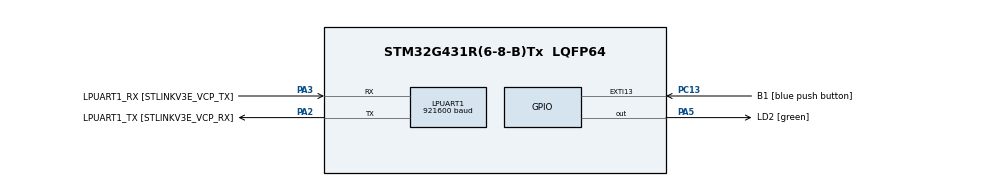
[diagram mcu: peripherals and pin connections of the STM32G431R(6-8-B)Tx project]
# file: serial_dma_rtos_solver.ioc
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Dma.LPUART1_RX.1.Direction=DMA_PERIPH_TO_MEMORY
Dma.LPUART1_RX.1.EventEnable=DISABLE
Dma.LPUART1_RX.1.Instance=DMA1_Channel1
Dma.LPUART1_RX.1.MemDataAlignment=DMA_MDATAALIGN_BYTE
Dma.LPUART1_RX.1.MemInc=DMA_MINC_ENABLE
Dma.LPUART1_RX.1.Mode=DMA_CIRCULAR
Dma.LPUART1_RX.1.PeriphDataAlignment=DMA_PDATAALIGN_BYTE
Dma.LPUART1_RX.1.PeriphInc=DMA_PINC_DISABLE
Dma.LPUART1_RX.1.Polarity=HAL_DMAMUX_REQ_GEN_RISING
Dma.LPUART1_RX.1.Priority=DMA_PRIORITY_LOW
Dma.LPUART1_RX.1.RequestNumber=1
Dma.LPUART1_RX.1.SignalID=NONE
Dma.LPUART1_RX.1.SyncEnable=DISABLE
Dma.LPUART1_RX.1.SyncPolarity=HAL_DMAMUX_SYNC_NO_EVENT
Dma.LPUART1_RX.1.SyncRequestNumber=1
Dma.LPUART1_RX.1.SyncSignalID=NONE
Dma.LPUART1_TX.0.Direction=DMA_MEMORY_TO_PERIPH
Dma.LPUART1_TX.0.EventEnable=DISABLE
Dma.LPUART1_TX.0.Instance=DMA1_Channel2
Dma.LPUART1_TX.0.MemDataAlignment=DMA_MDATAALIGN_BYTE
Dma.LPUART1_TX.0.MemInc=DMA_MINC_ENABLE
Dma.LPUART1_TX.0.Mode=DMA_NORMAL
Dma.LPUART1_TX.0.PeriphDataAlignment=DMA_PDATAALIGN_BYTE
Dma.LPUART1_TX.0.PeriphInc=DMA_PINC_DISABLE
Dma.LPUART1_TX.0.Polarity=HAL_DMAMUX_REQ_GEN_RISING
Dma.LPUART1_TX.0.Priority=DMA_PRIORITY_LOW
Dma.LPUART1_TX.0.RequestNumber=1
Dma.LPUART1_TX.0.SignalID=NONE
Dma.LPUART1_TX.0.SyncEnable=DISABLE
Dma.LPUART1_TX.0.SyncPolarity=HAL_DMAMUX_SYNC_NO_EVENT
Dma.LPUART1_TX.0.SyncRequestNumber=1
Dma.LPUART1_TX.0.SyncSignalID=NONE
Dma.Request0=LPUART1_TX
Dma.Request1=LPUART1_RX
FREERTOS.INCLUDE_vTaskDelete=0
FREERTOS.INCLUDE_vTaskSuspend=0
FREERTOS.Tasks01=defaultTask,24,128,StartDefaultTask,Default,NULL,Dynamic,NULL,NULL;motorSimulation,48,256,motorSimulationTask,Default,NULL,Dynamic,NULL,NULL
FREERTOS.configENABLE_BACKWARD_COMPATIBILITY=0
FREERTOS.configENABLE_FPU=1
FREERTOS.configGENERATE_RUN_TIME_STATS=1
LPUART1.BaudRate=921600
LPUART1.WordLength=UART_WORDLENGTH_8B
Mcu.Family=STM32G4
Mcu.Name=STM32G431R(6-8-B)Tx
Mcu.Package=LQFP64
NVIC.DMA1_Channel1_IRQn=true\:5\:0\:false\:false\:true\:true\:false\:true
NVIC.DMA1_Channel2_IRQn=true\:5\:0\:false\:false\:true\:true\:false\:true
NVIC.LPUART1_IRQn=true\:5\:0\:false\:false\:true\:true\:true\:true
NVIC.PriorityGroup=NVIC_PRIORITYGROUP_4
NVIC.TIM2_IRQn=true\:0\:0\:false\:false\:true\:false\:false\:true
NVIC.TimeBase=TIM2_IRQn
NVIC.TimeBaseIP=TIM2
PA13.GPIO_Label=T_SWDIO
PA13.Mode=Serial_Wire
PA13.Signal=SYS_JTMS-SWDIO
PA14.GPIO_Label=T_SWCLK
PA14.Mode=Serial_Wire
PA14.Signal=SYS_JTCK-SWCLK
PA2.GPIO_Label=LPUART1_TX [STLINKV3E_VCP_RX]
PA2.Mode=Asynchronous
PA2.Signal=LPUART1_TX
PA3.GPIO_Label=LPUART1_RX [STLINKV3E_VCP_TX]
PA3.Mode=Asynchronous
PA3.Signal=LPUART1_RX
PA5.GPIO_Label=LD2 [green]
PA5.Signal=GPIO_Output
PB3.GPIO_Label=T_SWO
PB3.Signal=SYS_JTDO-SWO
PC13.GPIO_Label=B1 [blue push button]
PC13.Signal=GPXTI13
PC14-OSC32_IN.Mode=LSE-External-Oscillator
PC14-OSC32_IN.Signal=RCC_OSC32_IN
PC15-OSC32_OUT.Mode=LSE-External-Oscillator
PC15-OSC32_OUT.Signal=RCC_OSC32_OUT
PF0-OSC_IN.Mode=HSE-External-Oscillator
PF0-OSC_IN.Signal=RCC_OSC_IN
PF1-OSC_OUT.Mode=HSE-External-Oscillator
PF1-OSC_OUT.Signal=RCC_OSC_OUT
ProjectManager.HeapSize=0x2000
ProjectManager.StackSize=0x2000
ProjectManager.TargetToolchain=STM32CubeIDE
RCC.ADC12Freq_Value=170000000
RCC.AHBFreq_Value=170000000
RCC.APB1Freq_Value=170000000
RCC.APB1TimFreq_Value=170000000
RCC.APB2Freq_Value=170000000
RCC.APB2TimFreq_Value=170000000
RCC.CortexFreq_Value=170000000
RCC.EXTERNAL_CLOCK_VALUE=12288000
RCC.HCLKFreq_Value=170000000
RCC.HSE_VALUE=24000000
RCC.HSI48_VALUE=48000000
RCC.HSI_VALUE=16000000
RCC.PLLM=RCC_PLLM_DIV6
RCC.PLLN=85
RCC.PLLSourceVirtual=RCC_PLLSOURCE_HSE
RCC.RTCClockSelection=RCC_RTCCLKSOURCE_LSE
RCC.SYSCLKFreq_VALUE=170000000
RCC.SYSCLKSource=RCC_SYSCLKSOURCE_PLLCLK
RCC.USBFreq_Value=170000000
RCC.VCOOutputFreq_Value=340000000
VP_FREERTOS_VS_CMSIS_V2.Mode=CMSIS_V2
VP_SYS_VS_DBSignals.Mode=DisableDeadBatterySignals
VP_SYS_VS_tim2.Mode=TIM2
board=NUCLEO-G431RB

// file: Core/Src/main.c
/* USER CODE BEGIN Header */
/**
  ******************************************************************************
  * @file           : main.c
  * @brief          : Main program body
  ******************************************************************************
  * @attention
  *
  * <h2><center>&copy; Copyright (c) 2020 STMicroelectronics.
  * All rights reserved.</center></h2>
  *
  * This software component is licensed by ST under BSD 3-Clause license,
  * the "License"; You may not use this file except in compliance with the
  * License. You may obtain a copy of the License at:
  *                        opensource.org/licenses/BSD-3-Clause
  *
  ******************************************************************************
  */
/* USER CODE END Header */

#include "main.h"
#include "cmsis_os.h"

/* USER CODE BEGIN Includes */
#include "serial_handler.h"
#include "model.h"
#include "data_channel_c.h"
/* USER CODE END Includes */

/* Definitions for defaultTask */
osThreadId_t defaultTaskHandle;
const osThreadAttr_t defaultTask_attributes = {
  .name = "defaultTask",
  .priority = (osPriority_t) osPriorityNormal,
  .stack_size = 128 * 4
};
/* Definitions for motorSimulation */
osThreadId_t motorSimulationHandle;
const osThreadAttr_t motorSimulation_attributes = {
  .name = "motorSimulation",
  .priority = (osPriority_t) osPriorityRealtime,
  .stack_size = 256 * 4
};

void SystemClock_Config(void);
static void MX_GPIO_Init(void);
static void MX_DMA_Init(void);
static void MX_LPUART1_UART_Init(void);
void StartDefaultTask(void *argument);
void motorSimulationTask(void *argument);

int main(void)
{

  /* MCU Configuration--------------------------------------------------------*/

  /* Reset of all peripherals, Initializes the Flash interface and the Systick. */
  HAL_Init();

  /* Configure the system clock */
  SystemClock_Config();

  /* Initialize all configured peripherals */
  MX_GPIO_Init();
  MX_DMA_Init();
  MX_LPUART1_UART_Init();

  /* Init scheduler */
  osKernelInitialize();

  /* Create the thread(s) */
  /* creation of defaultTask */
  defaultTaskHandle = osThreadNew(StartDefaultTask, NULL, &defaultTask_attributes);

  /* creation of motorSimulation */
  motorSimulationHandle = osThreadNew(motorSimulationTask, NULL, &motorSimulation_attributes);

  /* Start scheduler */
  osKernelStart();

  /* We should never get here as control is now taken by the scheduler */
  /* Infinite loop */
  while (1)
  {

  }
}

void SystemClock_Config(void)
{
  LL_FLASH_SetLatency(LL_FLASH_LATENCY_8);
  LL_PWR_EnableRange1BoostMode();
  LL_RCC_HSE_Enable();

   /* Wait till HSE is ready */
  while(LL_RCC_HSE_IsReady() != 1)
  {

  }
  LL_RCC_PLL_ConfigDomain_SYS(LL_RCC_PLLSOURCE_HSE, LL_RCC_PLLM_DIV_6, 85, LL_RCC_PLLR_DIV_2);
  LL_RCC_PLL_EnableDomain_SYS();
  LL_RCC_PLL_Enable();

   /* Wait till PLL is ready */
  while(LL_RCC_PLL_IsReady() != 1)
  {

  }
  LL_RCC_SetSysClkSource(LL_RCC_SYS_CLKSOURCE_PLL);
  LL_RCC_SetAHBPrescaler(LL_RCC_SYSCLK_DIV_2);

   /* Wait till System clock is ready */
  while(LL_RCC_GetSysClkSource() != LL_RCC_SYS_CLKSOURCE_STATUS_PLL)
  {

  }
  /* Insure 1µs transition state at intermediate medium speed clock based on DWT */
  CoreDebug->DEMCR |= CoreDebug_DEMCR_TRCENA_Msk;
  DWT->CTRL |= DWT_CTRL_CYCCNTENA_Msk;
  DWT->CYCCNT = 0;
  while(DWT->CYCCNT < 100);
  /* Set AHB prescaler*/
  LL_RCC_SetAHBPrescaler(LL_RCC_SYSCLK_DIV_1);
  LL_RCC_SetAPB1Prescaler(LL_RCC_APB1_DIV_1);
  LL_RCC_SetAPB2Prescaler(LL_RCC_APB1_DIV_1);
  LL_SetSystemCoreClock(170000000);

   /* Update the time base */
  if (HAL_InitTick (TICK_INT_PRIORITY) != HAL_OK)
  {
    Error_Handler();
  };
  LL_RCC_SetLPUARTClockSource(LL_RCC_LPUART1_CLKSOURCE_PCLK1);
}

static void MX_LPUART1_UART_Init(void)
{

  LL_LPUART_InitTypeDef LPUART_InitStruct = {0};

  LL_GPIO_InitTypeDef GPIO_InitStruct = {0};

  /* Peripheral clock enable */
  LL_APB1_GRP2_EnableClock(LL_APB1_GRP2_PERIPH_LPUART1);

  LL_AHB2_GRP1_EnableClock(LL_AHB2_GRP1_PERIPH_GPIOA);
  /**LPUART1 GPIO Configuration
  PA2   ------> LPUART1_TX
  PA3   ------> LPUART1_RX
  */
  GPIO_InitStruct.Pin = LPUART1_TX_Pin;
  GPIO_InitStruct.Mode = LL_GPIO_MODE_ALTERNATE;
  GPIO_InitStruct.Speed = LL_GPIO_SPEED_FREQ_LOW;
  GPIO_InitStruct.OutputType = LL_GPIO_OUTPUT_PUSHPULL;
  GPIO_InitStruct.Pull = LL_GPIO_PULL_NO;
  GPIO_InitStruct.Alternate = LL_GPIO_AF_12;
  LL_GPIO_Init(LPUART1_TX_GPIO_Port, &GPIO_InitStruct);

  GPIO_InitStruct.Pin = LPUART1_RX_Pin;
  GPIO_InitStruct.Mode = LL_GPIO_MODE_ALTERNATE;
  GPIO_InitStruct.Speed = LL_GPIO_SPEED_FREQ_LOW;
  GPIO_InitStruct.OutputType = LL_GPIO_OUTPUT_PUSHPULL;
  GPIO_InitStruct.Pull = LL_GPIO_PULL_NO;
  GPIO_InitStruct.Alternate = LL_GPIO_AF_12;
  LL_GPIO_Init(LPUART1_RX_GPIO_Port, &GPIO_InitStruct);

  /* LPUART1 DMA Init */

  /* LPUART1_TX Init */
  LL_DMA_SetPeriphRequest(DMA1, LL_DMA_CHANNEL_2, LL_DMAMUX_REQ_LPUART1_TX);

  LL_DMA_SetDataTransferDirection(DMA1, LL_DMA_CHANNEL_2, LL_DMA_DIRECTION_MEMORY_TO_PERIPH);

  LL_DMA_SetChannelPriorityLevel(DMA1, LL_DMA_CHANNEL_2, LL_DMA_PRIORITY_LOW);

  LL_DMA_SetMode(DMA1, LL_DMA_CHANNEL_2, LL_DMA_MODE_NORMAL);

  LL_DMA_SetPeriphIncMode(DMA1, LL_DMA_CHANNEL_2, LL_DMA_PERIPH_NOINCREMENT);

  LL_DMA_SetMemoryIncMode(DMA1, LL_DMA_CHANNEL_2, LL_DMA_MEMORY_INCREMENT);

  LL_DMA_SetPeriphSize(DMA1, LL_DMA_CHANNEL_2, LL_DMA_PDATAALIGN_BYTE);

  LL_DMA_SetMemorySize(DMA1, LL_DMA_CHANNEL_2, LL_DMA_MDATAALIGN_BYTE);

  /* LPUART1_RX Init */
  LL_DMA_SetPeriphRequest(DMA1, LL_DMA_CHANNEL_1, LL_DMAMUX_REQ_LPUART1_RX);

  LL_DMA_SetDataTransferDirection(DMA1, LL_DMA_CHANNEL_1, LL_DMA_DIRECTION_PERIPH_TO_MEMORY);

  LL_DMA_SetChannelPriorityLevel(DMA1, LL_DMA_CHANNEL_1, LL_DMA_PRIORITY_LOW);

  LL_DMA_SetMode(DMA1, LL_DMA_CHANNEL_1, LL_DMA_MODE_CIRCULAR);

  LL_DMA_SetPeriphIncMode(DMA1, LL_DMA_CHANNEL_1, LL_DMA_PERIPH_NOINCREMENT);

  LL_DMA_SetMemoryIncMode(DMA1, LL_DMA_CHANNEL_1, LL_DMA_MEMORY_INCREMENT);

  LL_DMA_SetPeriphSize(DMA1, LL_DMA_CHANNEL_1, LL_DMA_PDATAALIGN_BYTE);

  LL_DMA_SetMemorySize(DMA1, LL_DMA_CHANNEL_1, LL_DMA_MDATAALIGN_BYTE);

  /* LPUART1 interrupt Init */
  NVIC_SetPriority(LPUART1_IRQn, NVIC_EncodePriority(NVIC_GetPriorityGrouping(),5, 0));
  NVIC_EnableIRQ(LPUART1_IRQn);

  LPUART_InitStruct.PrescalerValue = LL_LPUART_PRESCALER_DIV1;
  LPUART_InitStruct.BaudRate = 921600;
  LPUART_InitStruct.DataWidth = LL_LPUART_DATAWIDTH_8B;
  LPUART_InitStruct.StopBits = LL_LPUART_STOPBITS_1;
  LPUART_InitStruct.Parity = LL_LPUART_PARITY_NONE;
  LPUART_InitStruct.TransferDirection = LL_LPUART_DIRECTION_TX_RX;
  LPUART_InitStruct.HardwareFlowControl = LL_LPUART_HWCONTROL_NONE;
  LL_LPUART_Init(LPUART1, &LPUART_InitStruct);
  LL_LPUART_SetTXFIFOThreshold(LPUART1, LL_LPUART_FIFOTHRESHOLD_1_8);
  LL_LPUART_SetRXFIFOThreshold(LPUART1, LL_LPUART_FIFOTHRESHOLD_1_8);
  LL_LPUART_DisableFIFO(LPUART1);

  /* USER CODE BEGIN WKUPType LPUART1 */
  // UART RX settings
  LL_DMA_SetPeriphAddress(DMA1, LL_DMA_CHANNEL_1, (uint32_t)&LPUART1->RDR);
  LL_DMA_SetMemoryAddress(DMA1, LL_DMA_CHANNEL_1, (uint32_t)serial_rx_buffer);
  LL_DMA_SetDataLength(DMA1, LL_DMA_CHANNEL_1, SERIAL_PORT_RX_BUFFER_SIZE);
  LL_DMA_EnableIT_HT(DMA1, LL_DMA_CHANNEL_1);
  LL_DMA_EnableIT_TC(DMA1, LL_DMA_CHANNEL_1);

  // UART TX settings
  LL_DMA_SetPeriphAddress(DMA1, LL_DMA_CHANNEL_2, (uint32_t)&LPUART1->TDR);
  LL_DMA_EnableIT_TC(DMA1, LL_DMA_CHANNEL_2);

  LL_LPUART_EnableDMAReq_RX(LPUART1);
  LL_LPUART_EnableDMAReq_TX(LPUART1);
  LL_LPUART_EnableIT_IDLE(LPUART1);

  LL_DMA_EnableChannel(DMA1, LL_DMA_CHANNEL_1);
  /* USER CODE END WKUPType LPUART1 */

  LL_LPUART_Enable(LPUART1);

  /* Polling LPUART1 initialisation */
  while((!(LL_LPUART_IsActiveFlag_TEACK(LPUART1))) || (!(LL_LPUART_IsActiveFlag_REACK(LPUART1))))
  {
  }

}

static void MX_DMA_Init(void)
{

  /* Init with LL driver */
  /* DMA controller clock enable */
  LL_AHB1_GRP1_EnableClock(LL_AHB1_GRP1_PERIPH_DMAMUX1);
  LL_AHB1_GRP1_EnableClock(LL_AHB1_GRP1_PERIPH_DMA1);

  /* DMA interrupt init */
  /* DMA1_Channel1_IRQn interrupt configuration */
  NVIC_SetPriority(DMA1_Channel1_IRQn, NVIC_EncodePriority(NVIC_GetPriorityGrouping(),5, 0));
  NVIC_EnableIRQ(DMA1_Channel1_IRQn);
  /* DMA1_Channel2_IRQn interrupt configuration */
  NVIC_SetPriority(DMA1_Channel2_IRQn, NVIC_EncodePriority(NVIC_GetPriorityGrouping(),5, 0));
  NVIC_EnableIRQ(DMA1_Channel2_IRQn);

}

static void MX_GPIO_Init(void)
{
  LL_EXTI_InitTypeDef EXTI_InitStruct = {0};
  LL_GPIO_InitTypeDef GPIO_InitStruct = {0};

  /* GPIO Ports Clock Enable */
  LL_AHB2_GRP1_EnableClock(LL_AHB2_GRP1_PERIPH_GPIOC);
  LL_AHB2_GRP1_EnableClock(LL_AHB2_GRP1_PERIPH_GPIOF);
  LL_AHB2_GRP1_EnableClock(LL_AHB2_GRP1_PERIPH_GPIOA);
  LL_AHB2_GRP1_EnableClock(LL_AHB2_GRP1_PERIPH_GPIOB);

  /**/
  LL_GPIO_ResetOutputPin(LD2_GPIO_Port, LD2_Pin);

  /**/
  LL_SYSCFG_SetEXTISource(LL_SYSCFG_EXTI_PORTC, LL_SYSCFG_EXTI_LINE13);

  /**/
  EXTI_InitStruct.Line_0_31 = LL_EXTI_LINE_13;
  EXTI_InitStruct.LineCommand = ENABLE;
  EXTI_InitStruct.Mode = LL_EXTI_MODE_IT;
  EXTI_InitStruct.Trigger = LL_EXTI_TRIGGER_RISING;
  LL_EXTI_Init(&EXTI_InitStruct);

  /**/
  LL_GPIO_SetPinPull(B1_GPIO_Port, B1_Pin, LL_GPIO_PULL_NO);

  /**/
  LL_GPIO_SetPinMode(B1_GPIO_Port, B1_Pin, LL_GPIO_MODE_INPUT);

  /**/
  GPIO_InitStruct.Pin = LD2_Pin;
  GPIO_InitStruct.Mode = LL_GPIO_MODE_OUTPUT;
  GPIO_InitStruct.Speed = LL_GPIO_SPEED_FREQ_LOW;
  GPIO_InitStruct.OutputType = LL_GPIO_OUTPUT_PUSHPULL;
  GPIO_InitStruct.Pull = LL_GPIO_PULL_NO;
  LL_GPIO_Init(LD2_GPIO_Port, &GPIO_InitStruct);

}

void StartDefaultTask(void *argument)
{
  for(;;)
  {
    osDelay(1);
  }
}

void motorSimulationTask(void *argument)
{
  /* USER CODE BEGIN motorSimulationTask */
    uint16_t written = 0;
    uint32_t sim_time = 0;

    const uint8_t*  left_motor_ptr = get_left_motor_output();
    const uint8_t*  right_motor_ptr = get_right_motor_output();
    const uint32_t  left_motor_output_size = get_left_motor_output_size();
    const uint32_t  right_motor_output_size = get_right_motor_output_size();

    TickType_t last_execution_time = xTaskGetTickCount();

    volatile uint32_t start, delta;
    volatile uint32_t start0, delta0;

    for(;;)
    {
        start = TIM2->CNT;
        start0 = HAL_GetTick();

        solve_10ms(sim_time);

        delta = TIM2->CNT - start;
        delta0 = HAL_GetTick() - start0;

        written = write_to_tx_buffer(left_motor_ptr, left_motor_output_size);
        if (written != left_motor_output_size)
        {
            while (1);
        }

        written = write_to_tx_buffer(right_motor_ptr, right_motor_output_size);
        if (written != right_motor_output_size)
        {
            while (1);
        }

        sim_time += 1;
        vTaskDelayUntil(&last_execution_time, 10);
    }
  /* USER CODE END motorSimulationTask */
}

 /**
  * @brief  Period elapsed callback in non blocking mode
  * @note   This function is called  when TIM2 interrupt took place, inside
  * HAL_TIM_IRQHandler(). It makes a direct call to HAL_IncTick() to increment
  * a global variable "uwTick" used as application time base.
  * @param  htim : TIM handle
  * @retval None
  */
void HAL_TIM_PeriodElapsedCallback(TIM_HandleTypeDef *htim)
{
  if (htim->Instance == TIM2) {
    HAL_IncTick();
  }
}

void Error_Handler(void)
{
}

/************************ (C) COPYRIGHT STMicroelectronics *****END OF FILE****/

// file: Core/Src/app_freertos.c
/* USER CODE BEGIN Header */
/**
  ******************************************************************************
  * File Name          : app_freertos.c
  * Description        : Code for freertos applications
  ******************************************************************************
  * @attention
  *
  * <h2><center>&copy; Copyright (c) 2020 STMicroelectronics.
  * All rights reserved.</center></h2>
  *
  * This software component is licensed by ST under Ultimate Liberty license
  * SLA0044, the "License"; You may not use this file except in compliance with
  * the License. You may obtain a copy of the License at:
  *                             www.st.com/SLA0044
  *
  ******************************************************************************
  */
/* USER CODE END Header */

#include "FreeRTOS.h"
#include "task.h"
#include "main.h"

/* Hook prototypes */
void configureTimerForRunTimeStats(void);
unsigned long getRunTimeCounterValue(void);

/* USER CODE BEGIN 1 */
/* Functions needed when configGENERATE_RUN_TIME_STATS is on */
__weak void configureTimerForRunTimeStats(void)
{

}

__weak unsigned long getRunTimeCounterValue(void)
{
return 0;
}
/* USER CODE END 1 */

/************************ (C) COPYRIGHT STMicroelectronics *****END OF FILE****/
